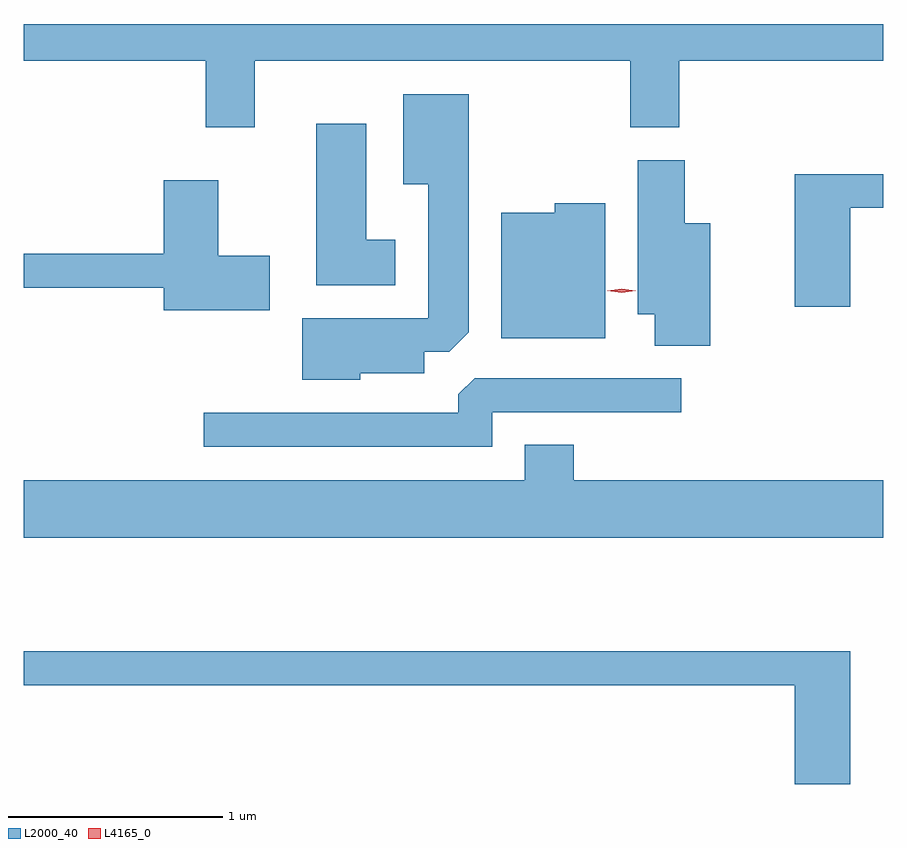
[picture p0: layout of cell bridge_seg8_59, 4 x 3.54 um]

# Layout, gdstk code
import gdstk
lib = gdstk.Library(unit=1e-6, precision=1e-09)
def P(c, l, *ps):  # polygons
    for p in ps: c.add(gdstk.Polygon(p, *l))
L2000_40 = (2000, 40)
L4165_0 = (4165, 0)

bridge_seg8_59 = lib.new_cell('bridge_seg8_59')
P(bridge_seg8_59, L2000_40, [(1582.864,1927.436),(1584.611,1927.436),(1584.611,1927.126),(1584.839,1927.126),(1584.839,1927.436),(1585.789,1927.436),(1585.789,1927.607),(1581.789,1927.607),(1581.789,1927.436),(1582.636,1927.436),(1582.636,1927.126),(1582.864,1927.126)],
  [(1583.354,1925.981),(1583.654,1925.981),(1583.654,1926.081),(1583.769,1926.081),(1583.859,1926.172),(1583.859,1927.279),(1583.556,1927.279),(1583.556,1926.861),(1583.671,1926.861),(1583.671,1926.239),(1583.086,1926.239),(1583.086,1925.951),(1583.354,1925.951)],
  [(1583.519,1926.604),(1583.384,1926.604),(1583.384,1927.144),(1583.151,1927.144),(1583.151,1926.391),(1583.519,1926.391)],
  [(1584.984,1926.679),(1584.864,1926.679),(1584.864,1926.974),(1584.646,1926.974),(1584.646,1926.256),(1584.726,1926.256),(1584.726,1926.111),(1584.984,1926.111)],
  [(1585.634,1926.751),(1585.789,1926.751),(1585.789,1926.909),(1585.376,1926.909),(1585.376,1926.291),(1585.634,1926.291)],
  [(1582.934,1926.529),(1582.694,1926.529),(1582.694,1926.879),(1582.441,1926.879),(1582.441,1926.539),(1581.789,1926.539),(1581.789,1926.381),(1582.441,1926.381),(1582.441,1926.276),(1582.934,1926.276)],
  [(1584.494,1926.774),(1584.261,1926.774),(1584.261,1926.729),(1584.011,1926.729),(1584.011,1926.146),(1584.494,1926.146)],
  [(1583.969,1925.801),(1584.848,1925.801),(1584.848,1925.959),(1583.887,1925.959),(1583.811,1925.884),(1583.811,1925.799),(1582.628,1925.799),(1582.628,1925.641),(1583.969,1925.641)],
  [(1585.789,1925.484),(1584.349,1925.484),(1584.349,1925.649),(1584.121,1925.649),(1584.121,1925.484),(1581.789,1925.484),(1581.789,1925.216),(1585.789,1925.216)],
  [(1585.634,1924.689),(1581.789,1924.689),(1581.789,1924.531),(1585.376,1924.531),(1585.376,1924.071),(1585.634,1924.071)])
P(bridge_seg8_59, L4165_0, [(1584.571,1926.356),(1584.505,1926.366),(1584.504,1926.367),(1584.505,1926.367),(1584.571,1926.376),(1584.637,1926.366),(1584.637,1926.366),(1584.637,1926.366)])

lib.write_gds('bridge_seg8_59.gds')
